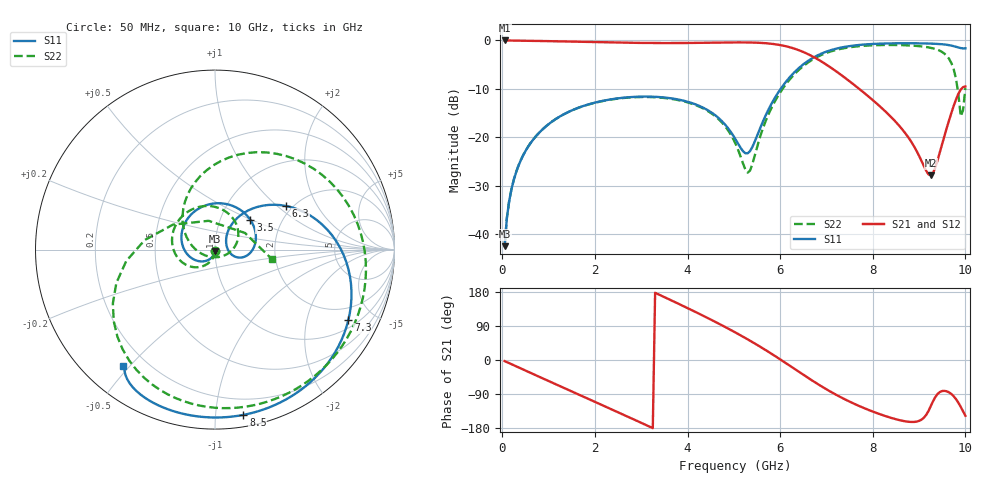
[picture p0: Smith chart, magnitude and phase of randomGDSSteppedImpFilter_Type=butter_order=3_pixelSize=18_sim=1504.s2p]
! freq	dB(S11)	phase(S11)	dB(S12)	phase(S12)
!  dB(S21)	phase(S21)	dB(S22)	phase(S22)
!S-par simulation data
#  GHz  S  DB  R 50
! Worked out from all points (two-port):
!   200 points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, 50 MHz to 10 GHz, reference 50 ohm
!   highest |S21| = -0.01 dB at 50 MHz (marker M1); lowest = -27.9 dB at 9.25 GHz (marker M2)
!   |S21| within 3 dB of the highest: start of sweep to 6.638 GHz
!   lowest |S11| = -42.5 dB at 50 MHz (marker M3), VSWR 1.02, Z = 50 - j0.747 ohm
!   |S11| at or under -10 dB: start of sweep to 6.012 GHz
!   |S22| runs from -42.5 to -0.9 dB; largest |S21 - S12| = 0
!   S11 on the Smith chart (normalised r, x): 50 MHz: 1.00, -0.01; 3.5 GHz: 1.39, +0.49; 6.3 GHz: 1.85, +1.15; 7.3 GHz: 1.33, -3.56; 8.5 GHz: 0.08, -1.18; 10 GHz: 0.11, -0.48
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0.05  -42.52 -91.3  -0.01 -2.8  -0.01 -2.8  -42.51 -90.0
0.2  -30.66 -103.3  -0.02 -11.2  -0.02 -11.2  -30.64 -98.4
0.5  -22.87 -124.4  -0.06 -27.9  -0.06 -27.9  -22.85 -112.1
1.15  -16.27 -168.8  -0.18 -63.8  -0.18 -63.8  -16.27 -140.4
1.75  -13.55 150.8  -0.31 -96.7  -0.31 -96.7  -13.57 -166.0
2.65  -11.81 91.7  -0.47 -146.3  -0.47 -146.3  -11.87 154.2
3.4  -11.71 45.7  -0.54 171.7  -0.54 171.7  -11.81 116.8
3.5  -11.79 39.9  -0.54 166.0  -0.54 166.0  -11.89 111.4
4.35  -13.96 -4.0  -0.49 116.1  -0.49 116.1  -14.12 57.7
5.05  -20.66 -15.4  -0.41 71.5  -0.41 71.5  -21.65 -10.8
5.35  -22.86 30.1  -0.43 50.9  -0.43 50.9  -26.90 -111.6
5.85  -12.46 53.4  -0.73 13.6  -0.73 13.6  -13.24 144.1
6.3  -6.65 31.5  -1.67 -22.7  -1.67 -22.7  -7.06 96.2
6.7  -3.64 6.9  -3.31 -54.9  -3.31 -54.9  -3.95 57.3
7.3  -1.51 -27.9  -7.01 -97.7  -7.01 -97.7  -1.76 6.7
7.75  -0.90 -49.9  -10.34 -123.7  -10.34 -123.7  -1.15 -24.6
8.35  -0.61 -74.6  -15.39 -151.0  -15.39 -151.0  -0.93 -60.0
8.5  -0.59 -80.2  -16.87 -156.3  -16.87 -156.3  -0.95 -68.2
9.25  -0.65 -106.6  -27.88 -122.5  -27.88 -122.5  -1.53 -111.6
9.7  -1.07 -122.5  -14.90 -90.1  -14.90 -90.1  -4.73 -161.3
9.9  -1.58 -127.3  -10.15 -123.8  -10.15 -123.8  -15.69 102.4
10  -1.63 -128.4  -9.52 -147.2  -9.52 -147.2  -9.83 -9.6
